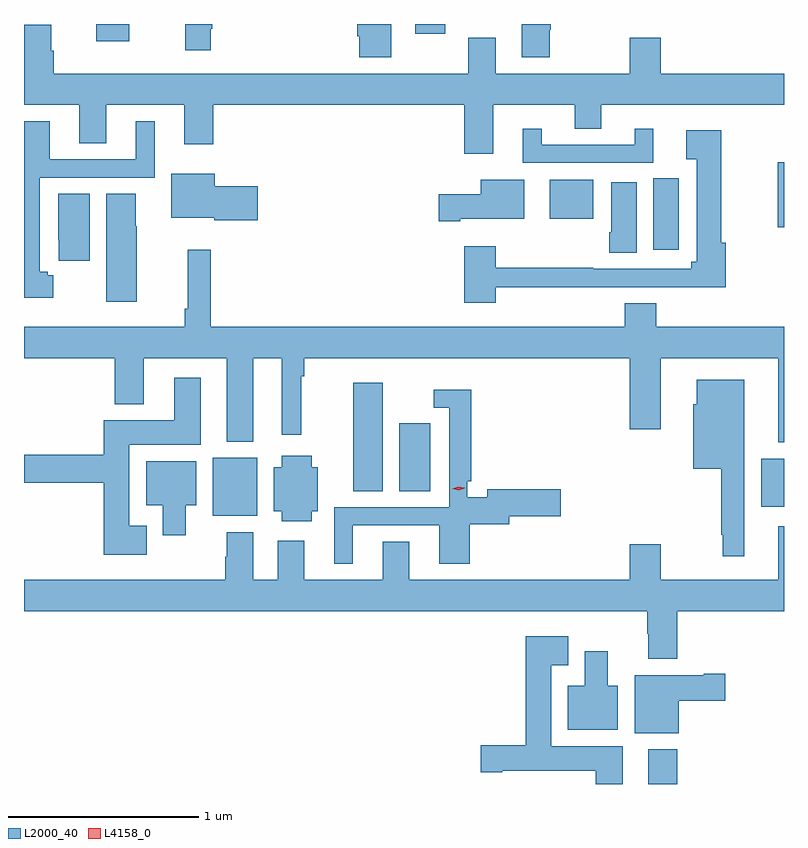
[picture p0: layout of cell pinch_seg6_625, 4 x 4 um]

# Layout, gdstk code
import gdstk
lib = gdstk.Library(unit=1e-6, precision=1e-09)
def R(c, l, rs):  # rectangles x0, y0, x1, y1
    for r in rs: c.add(gdstk.rectangle(r[:2], r[2:], *l))
def P(c, l, *ps):  # polygons
    for p in ps: c.add(gdstk.Polygon(p, *l))
L2000_40 = (2000, 40)
L4158_0 = (4158, 0)

pinch_seg6_625 = lib.new_cell('pinch_seg6_625')
R(pinch_seg6_625, L2000_40, [(392.879,935.77,393.032,935.953), (390.587,937.181,390.82,937.486), (393.473,937.229,393.593,937.483), (391.325,937.312,391.48,937.882), (391.568,937.312,391.732,937.669), (392.906,938.583,393.04,938.958), (393.56,938.699,393.593,939.043), (392.36,938.744,392.59,938.95), (389.972,939.68,390.148,939.77), (391.653,939.72,391.809,939.77)])
P(pinch_seg6_625, L2000_40, [(392.361,939.741),(392.366,939.741),(392.366,939.77),(392.213,939.77),(392.213,939.594),(392.361,939.594)],
  [(391.525,939.77),(391.346,939.77),(391.346,939.706),(391.358,939.706),(391.358,939.594),(391.525,939.594)],
  [(390.577,939.745),(390.584,939.745),(390.584,939.77),(390.442,939.77),(390.442,939.633),(390.577,939.633)],
  [(392.062,939.344),(392.492,939.344),(392.492,939.22),(392.632,939.22),(392.632,939.344),(393.593,939.344),(393.593,939.508),(392.944,939.508),(392.944,939.697),(392.78,939.697),(392.78,939.508),(392.077,939.508),(392.077,939.698),(391.93,939.698),(391.93,939.508),(389.75,939.508),(389.75,939.629),(389.737,939.629),(389.737,939.766),(389.593,939.766),(389.593,939.344),(389.885,939.344),(389.885,939.142),(390.025,939.142),(390.025,939.344),(390.437,939.344),(390.437,939.138),(390.59,939.138),(390.59,939.344),(391.91,939.344),(391.91,939.087),(392.062,939.087)],
  [(389.747,938.447),(389.718,938.447),(389.718,938.466),(389.676,938.466),(389.676,938.961),(390.28,938.961),(390.28,939.259),(390.182,939.259),(390.182,939.057),(389.728,939.057),(389.728,939.259),(389.593,939.259),(389.593,938.33),(389.747,938.33)],
  [(392.905,939.22),(392.807,939.22),(392.807,939.135),(392.317,939.135),(392.317,939.22),(392.219,939.22),(392.219,939.039),(392.905,939.039)],
  [(392.075,938.384),(392.672,938.384),(392.672,938.385),(393.02,938.385),(393.02,938.384),(393.287,938.384),(393.287,938.62),(393.264,938.62),(393.264,939.211),(393.078,939.211),(393.078,939.059),(393.134,939.059),(393.134,938.52),(393.104,938.52),(393.104,938.481),(392.588,938.481),(392.588,938.486),(392.075,938.486),(392.075,938.599),(391.91,938.599),(391.91,938.304),(392.075,938.304)],
  [(390.823,938.916),(390.598,938.916),(390.598,938.983),(390.368,938.983),(390.368,938.75),(390.594,938.75),(390.594,938.738),(390.823,938.738)],
  [(391.888,938.744),(392.227,938.744),(392.227,938.95),(391.997,938.95),(391.997,938.874),(391.776,938.874),(391.776,938.732),(391.888,938.732)],
  [(392.818,938.938),(392.684,938.938),(392.684,938.674),(392.672,938.674),(392.672,938.566),(392.818,938.566)],
  [(389.938,938.876),(389.774,938.876),(389.774,938.635),(389.776,938.635),(389.776,938.523),(389.938,938.523)],
  [(390.187,938.706),(390.181,938.706),(390.181,938.876),(390.026,938.876),(390.026,938.307),(390.187,938.307)],
  [(393.593,938.176),(392.921,938.176),(392.921,938.3),(392.756,938.3),(392.756,938.176),(390.575,938.176),(390.575,938.581),(390.454,938.581),(390.454,938.272),(390.439,938.272),(390.439,938.176),(389.593,938.176),(389.593,938.012),(390.071,938.012),(390.071,937.769),(390.223,937.769),(390.223,938.012),(390.659,938.012),(390.659,937.571),(390.799,937.571),(390.799,938.012),(390.95,938.012),(390.95,937.608),(391.052,937.608),(391.052,937.916),(391.067,937.916),(391.067,938.012),(392.78,938.012),(392.78,937.638),(392.944,937.638),(392.944,938.012),(393.563,938.012),(393.563,937.568),(393.593,937.568)],
  [(390.238,937.129),(390.148,937.129),(390.148,937.556),(390.523,937.556),(390.523,937.909),(390.383,937.909),(390.383,937.684),(390.014,937.684),(390.014,937.502),(389.593,937.502),(389.593,937.355),(390.014,937.355),(390.014,936.977),(390.238,936.977)],
  [(393.385,937.897),(393.134,937.897),(393.134,937.77),(393.116,937.77),(393.116,937.43),(393.264,937.43),(393.264,937.081),(393.271,937.081),(393.271,936.969),(393.385,936.969)],
  [(391.324,937.131),(391.778,937.131),(391.778,936.93),(391.94,936.93),(391.94,937.138),(392.146,937.138),(392.146,937.18),(392.419,937.18),(392.419,937.322),(392.03,937.322),(392.03,937.28),(391.926,937.28),(391.926,937.363),(391.946,937.363),(391.946,937.846),(391.749,937.846),(391.749,937.749),(391.83,937.749),(391.83,937.227),(391.226,937.227),(391.226,936.93),(391.324,936.93)],
  [(391.108,937.205),(391.138,937.205),(391.138,937.438),(391.108,937.438),(391.108,937.498),(390.95,937.498),(390.95,937.438),(390.908,937.438),(390.908,937.205),(390.95,937.205),(390.95,937.154),(391.108,937.154)],
  [(390.445,937.238),(390.499,937.238),(390.499,937.468),(390.236,937.468),(390.236,937.238),(390.323,937.238),(390.323,937.08),(390.445,937.08)],
  [(393.032,936.68),(393.593,936.68),(393.593,937.126),(393.563,937.126),(393.563,936.844),(392.944,936.844),(392.944,937.033),(392.78,937.033),(392.78,936.844),(391.621,936.844),(391.621,937.046),(391.481,937.046),(391.481,936.844),(391.069,936.844),(391.069,937.051),(390.929,937.051),(390.929,936.844),(390.799,936.844),(390.799,937.096),(390.659,937.096),(390.659,936.965),(390.652,936.965),(390.652,936.844),(389.593,936.844),(389.593,936.68),(392.872,936.68),(392.872,936.56),(392.879,936.56),(392.879,936.428),(393.032,936.428)],
  [(392.743,935.968),(392.368,935.968),(392.368,936.395),(392.458,936.395),(392.458,936.547),(392.234,936.547),(392.234,935.975),(391.998,935.975),(391.998,935.833),(392.11,935.833),(392.11,935.84),(392.603,935.84),(392.603,935.77),(392.743,935.77)],
  [(392.719,936.286),(392.665,936.286),(392.665,936.469),(392.543,936.469),(392.543,936.286),(392.456,936.286),(392.456,936.056),(392.719,936.056)],
  [(393.04,936.209),(393.283,936.209),(393.283,936.351),(393.17,936.351),(393.17,936.343),(392.807,936.343),(392.807,936.038),(393.04,936.038)])
P(pinch_seg6_625, L4158_0, [(391.88,937.315),(391.847,937.323),(391.847,937.323),(391.847,937.323),(391.879,937.335),(391.912,937.328),(391.912,937.327),(391.912,937.327)])

lib.write_gds('pinch_seg6_625.gds')
